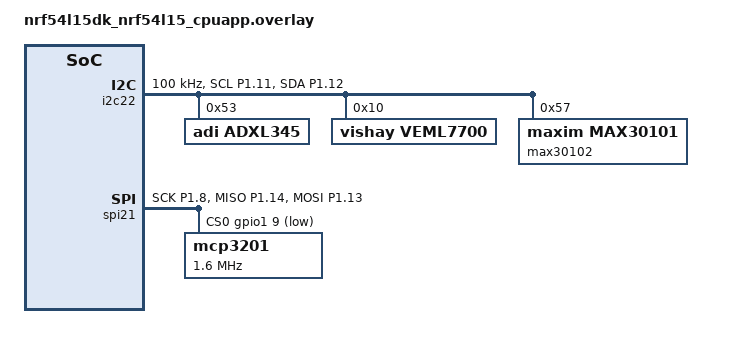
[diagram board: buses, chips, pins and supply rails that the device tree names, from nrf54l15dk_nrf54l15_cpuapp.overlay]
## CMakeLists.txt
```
cmake_minimum_required(VERSION 3.20.0)
find_package(Zephyr REQUIRED HINTS $ENV{ZEPHYR_BASE})

project(sensor_hub)

target_sources(app PRIVATE src/main.c)
```

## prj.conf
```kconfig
# Project Configurations
CONFIG_SENSOR=y
CONFIG_I2C=y    # configure I2C communication
CONFIG_SPI=y    # configure SPI communication
CONFIG_GPIO=y
CONFIG_SERIAL=y
CONFIG_CBPRINTF_FP_SUPPORT=y

CONFIG_ADXL345=y    # configure accelerometer
CONFIG_VEML7700=y   # config ambient light sensor

CONFIG_LOG=y

# for bluetooth
CONFIG_BT=y
CONFIG_BT_PERIPHERAL=y
CONFIG_BT_DEVICE_NAME="Nordic_UART_Service"
CONFIG_BT_MAX_CONN=1
CONFIG_BT_MAX_PAIRED=1
# Enable the NUS service
CONFIG_BT_NUS=y
# Enable bonding
CONFIG_BT_SETTINGS=y
CONFIG_FLASH=y
CONFIG_FLASH_PAGE_LAYOUT=y
CONFIG_FLASH_MAP=y

# # For PMIC (Uncomment for custom PCB)
# CONFIG_MFD=y
# CONFIG_MFD_NPM13XX=y
# CONFIG_REGULATOR=y
# CONFIG_REGULATOR_NPM13XX=y
# CONFIG_LED=y
# CONFIG_LED_NPM13XX=y
```

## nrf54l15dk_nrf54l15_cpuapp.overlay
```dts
// Device Tree Overlay File
// Defines all of the hardware nodes and configurations

&i2c22 {
    status = "okay";
    pinctrl-0 = <&i2c22_default>;
	pinctrl-1 = <&i2c22_sleep>;
    pinctrl-names = "default", "sleep";
	clock-frequency = <I2C_BITRATE_STANDARD>; 
    adxl345: adxl345@53{
        compatible = "adi,adxl345";
        status = "okay";
        reg = < 0x53 >;
    };
    veml7700: veml7700@10{
        compatible = "vishay,veml7700";
        status = "okay";
        reg = < 0x10 >;
    };
	max30102: max30102@57{
		compatible = "maxim,max30101";
		status = "okay";
		reg = <0x57>;
	};
// 	// PMIC
// 	npm1304: npm1304@6b{
// 		compatible="nordic,npm1304";
// 		reg=<0x6b>;
// 		status="disabled"; // will have to set to "okay" later

// 		/* Interrupt for Fuel Gauge / Buttons */
//      host-int-gpios = <&gpio1 2 GPIO_ACTIVE_HIGH>;

// 		regulators {
// 			compatible="nordic,npm1304-regulator";

// 			/* BUCK1: 1.8V */
//             BUCK1 {
//                 regulator-min-microvolt = <1800000>;
//                 regulator-max-microvolt = <1800000>;
//                 regulator-always-on;
//             };

//             /* BUCK2: 3.3V (System Boot) */
//             BUCK2 {
//                 regulator-min-microvolt = <3300000>;
//                 regulator-max-microvolt = <3300000>;
//                 regulator-boot-on; 
//                 regulator-always-on;
//             };

//             /* LDO2: 3.3V (Analog) */
//             LDO2 {
//                 regulator-min-microvolt = <3300000>;
//                 regulator-max-microvolt = <3300000>;
//                 regulator-always-on;
//             };
//         };

//         npm1304_charger: charger {
//             compatible = "nordic,npm1304-charger";
//             term-microvolt = <4200000>;
//             current-microamp = <100000>;
		
//             dischg-limit-microamp = <125000>; /* 1A Discharge Limit */
//             vbus-limit-microamp = <500000>;    /* 500mA USB Input Limit */
//             thermistor-ohms = <10000>;         /* 10k NTC Thermistor */
//             thermistor-beta = <3380>;          /* Standard Beta Value */
//         };

//         npm1304_leds: leds {
//             compatible = "nordic,npm1304-led";
// 			nordic,led0-mode = "charging";
// 			nordic,led1-mode = "host";
// 			nordic,led2-mode = "host";
//         };
// 	};	
};

&spi21 {
	status = "okay";
	pinctrl-0 = <&spi21_default>;
	pinctrl-1 = <&spi21_sleep>;
	pinctrl-names = "default", "sleep";
	
	/* Chip Select: P1.09 (Active Low) */
	cs-gpios = <&gpio1 9 GPIO_ACTIVE_LOW>;

	/* ADC Device (MCP3201 for Dev Board) */
	mcp3201: mcp3201@0 {
		compatible = "mcp3201";
		reg = <0>; 
		spi-max-frequency = <1600000>; 
		label = "MCP3201";
	};
};

&pinctrl {
	/omit-if-no-ref/ i2c22_default: i2c22_default {
		group1  {
			psels = <NRF_PSEL(TWIM_SCL, 1, 11)>,
					<NRF_PSEL(TWIM_SDA, 1, 12)>;
			// bias-disable; // <-- include for custom board
		};
	};

	/omit-if-no-ref/ i2c22_sleep: i2c22_sleep {
		group1  {
			psels = <NRF_PSEL(TWIM_SCL, 1, 11)>,
					<NRF_PSEL(TWIM_SDA, 1, 12)>;
			low-power-enable;
			// bias-disable; // <-- include for custom board
		};
	};

    /omit-if-no-ref/ spi21_default: spi21_default {
		group1 {
			/* SCK = P1.08, MISO = P1.14, MOSI = P1.13 */
			psels = <NRF_PSEL(SPIM_SCK, 1, 8)>,
				<NRF_PSEL(SPIM_MISO, 1, 14)>,
				<NRF_PSEL(SPIM_MOSI, 1, 13)>; 
		};
	};

	/omit-if-no-ref/ spi21_sleep: spi21_sleep {
		group1 {
			psels = <NRF_PSEL(SPIM_SCK, 1, 8)>,
				<NRF_PSEL(SPIM_MISO, 1, 14)>,
				<NRF_PSEL(SPIM_MOSI, 1, 13)>;
			low-power-enable;
		};
	};
};
```

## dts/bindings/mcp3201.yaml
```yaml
# This file tells Zephyr that "mcp3201" is a valid SPI slave
description: Generic SPI Device for raw access

compatible: "mcp3201"

# Inherit all standard SPI properties (frequency, duplex, etc.)
include: spi-device.yaml

properties:
    label:
      type: string
      description: Human readable name
```

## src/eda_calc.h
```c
#ifndef EDA_CALC_H
#define EDA_CALC_H

#include <zephyr/kernel.h>
#include <math.h>

/* --- TUNING PARAMETERS --- */
/* Filter Alpha: Determines how fast the baseline updates.
 * 0.99 = Slow baseline (good for spotting spikes).
 * 0.50 = Fast baseline (adapts quickly, might hide spikes).
 */
#define EDA_FILTER_ALPHA    0.995f

/* Stress Threshold: How many ADC counts above baseline constitutes "Stress"?
 * Start with 50. Decrease to 20 if wrist signal is weak.
 */
#define EDA_THRESHOLD       30.0f

/* Cooldown: Time (ms) to wait before triggering another event */
#define EDA_COOLDOWN_MS     2000

typedef struct {
    float baseline;         /* Tonic Level (Average) */
    float phasic;           /* Phasic Level (Current - Average) */
    bool  stress_detected;
    int64_t last_event_time;
    bool  is_calibrated;    /* Ignore first few seconds */
    int   startup_samples;
} eda_context_t;

static inline void eda_init(eda_context_t *ctx) {
    ctx->baseline = 0;
    ctx->phasic = 0;
    ctx->stress_detected = false;
    ctx->last_event_time = 0;
    ctx->is_calibrated = false;
    ctx->startup_samples = 0;
}

static inline void eda_process(eda_context_t *ctx, uint16_t raw_val) {
    ctx->stress_detected = false;
    int64_t now = k_uptime_get();

    /* 1. Initialization Phase (First 2 seconds @ 25Hz = 50 samples) */
    if (!ctx->is_calibrated) {
        /* Just set baseline to current value to avoid initial spike */
        if (ctx->baseline == 0) ctx->baseline = (float)raw_val;
        
        /* Fast converge filter during startup */
        ctx->baseline = 0.90f * ctx->baseline + 0.10f * (float)raw_val;
        
        ctx->startup_samples++;
        if (ctx->startup_samples > 50) ctx->is_calibrated = true;
        return;
    }

    /* 2. Update Baseline (Slow Moving Average) */
    /* Logic: NewBaseline = (Old * 0.995) + (Current * 0.005) */
    ctx->baseline = (EDA_FILTER_ALPHA * ctx->baseline) + 
                    ((1.0f - EDA_FILTER_ALPHA) * (float)raw_val);

    /* 3. Calculate Phasic Component (The Spike) */
    /* Since Stress = Higher Value, Phasic = Raw - Baseline */
    ctx->phasic = (float)raw_val - ctx->baseline;

    /* 4. Detect Stress Event */
    if (ctx->phasic > EDA_THRESHOLD && 
       (now - ctx->last_event_time) > EDA_COOLDOWN_MS) {
        
        ctx->stress_detected = true;
        ctx->last_event_time = now;
    }
}

#endif
```

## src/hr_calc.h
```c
#ifndef HR_CALC_H
#define HR_CALC_H

#include <zephyr/kernel.h>
#include <math.h>

/* --- TUNING PARAMETERS --- */
#define MIN_BEAT_MS        300  /* 200 BPM max */
#define MA_SIZE            4    /* Signal smoothing window */
#define BPM_BUFFER_SIZE    5    /* Output BPM averaging window */
#define MAX_BPM_JUMP       30   /* Reject beats that jump more than this from average */

/* HRV Stress Parameters */
#define HRV_ALPHA          0.99f /* Slow baseline update (approx 100 beats to shift baseline) */
#define STRESS_DROP_RATIO  0.70f /* Stress = Current HRV is < 70% of Baseline */
#define MIN_RMSSD_VALID    5.0f  /* Ignore noise below 5ms */

typedef struct {
    float dc_filter_ir;
    float peak_threshold;
    int64_t last_beat_time;
    
    /* HRV Buffers */
    int32_t rr_buffer[10];
    uint8_t rr_index;
    
    /* BPM Smoothing */
    int32_t bpm_buffer[BPM_BUFFER_SIZE];
    uint8_t bpm_idx;
    int32_t current_bpm; /* The smoothed output */

    /* Stress Metrics (using HRV) */
    float   current_rmssd;
    float   baseline_rmssd; /* Long-term average HRV */
    bool    stress_from_hrv; /* TRUE if HRV drops significantly */
    
    bool    beat_detected;
    
    /* Signal Processing Buffer */
    uint32_t ma_buf[MA_SIZE];
    uint8_t ma_idx;
} hr_context_t;

static inline void hr_init(hr_context_t *ctx) {
    // for bpm monitoring
    ctx->dc_filter_ir = 0;
    ctx->peak_threshold = 200.0f;
    ctx->last_beat_time = 0;
    ctx->current_bpm = 0;
    ctx->bpm_idx = 0;
    ctx->ma_idx = 0;

    // for hrv monitoring
    ctx->current_rmssd = 0;
    ctx->baseline_rmssd = -1.0f; /* Flag to indicate uninitialized */
    ctx->stress_from_hrv = false;
    
    for(int i=0; i<MA_SIZE; i++) ctx->ma_buf[i] = 0;
    /* Pre-fill BPM buffer with a safe default (e.g., 70) to prevent startup jitters */
    for(int i=0; i<BPM_BUFFER_SIZE; i++) ctx->bpm_buffer[i] = 70;
}

static inline void hr_process(hr_context_t *ctx, uint32_t ir_raw) {
    ctx->beat_detected = false;
    ctx->stress_from_hrv = false; /* Reset status every sample (pulse) */
    
    /* 1. Signal Smoothing (Moving Average) */
    ctx->ma_buf[ctx->ma_idx] = ir_raw;
    ctx->ma_idx = (ctx->ma_idx + 1) % MA_SIZE;
    uint32_t smooth_ir = 0;
    for(int i=0; i<MA_SIZE; i++) smooth_ir += ctx->ma_buf[i];
    smooth_ir /= MA_SIZE;

    /* 2. DC Removal */
    if (ctx->dc_filter_ir == 0) ctx->dc_filter_ir = smooth_ir;
    ctx->dc_filter_ir = 0.95f * ctx->dc_filter_ir + 0.05f * smooth_ir;
    float ac_signal = ctx->dc_filter_ir - smooth_ir;

    /* 3. Beat Logic */
    ctx->peak_threshold *= 0.999f;
    if (ctx->peak_threshold < 50.0f) ctx->peak_threshold = 50.0f;

    int64_t now = k_uptime_get();
    
    if (ac_signal > ctx->peak_threshold && (now - ctx->last_beat_time) > MIN_BEAT_MS) {
        
        int32_t rr_interval = (int32_t)(now - ctx->last_beat_time);
        int32_t instant_bpm = 60000 / rr_interval;
        
        ctx->last_beat_time = now;
        
        /* Update Threshold */
        ctx->peak_threshold = ac_signal * 0.5f;
        if (ctx->peak_threshold < 100.0f) ctx->peak_threshold = 100.0f;

        /* --- 4. BPM FILTERING --- */
        /* only accept realistic HR values */
        if (instant_bpm > 40 && instant_bpm < 200) {
            
            /* Outlier Rejection (Sudden Jumps) */
            bool accept_beat = true;
            if (ctx->current_bpm > 0) {
                int diff = abs(instant_bpm - ctx->current_bpm);
                if (diff > MAX_BPM_JUMP) {
                    /* If it jumps > 30 BPM instantly, ignore it (likely noise or missed beat) */
                    accept_beat = false;
                }
            }

            if (accept_beat) {
                /* Add to smoothing buffer */
                ctx->bpm_buffer[ctx->bpm_idx] = instant_bpm;
                ctx->bpm_idx = (ctx->bpm_idx + 1) % BPM_BUFFER_SIZE;

                /* Calculate Average */
                int32_t sum = 0;
                for(int i=0; i<BPM_BUFFER_SIZE; i++) sum += ctx->bpm_buffer[i];
                ctx->current_bpm = sum / BPM_BUFFER_SIZE;
                
                ctx->beat_detected = true;

                /* HRV Logic (Only update HRV on valid beats) */
                ctx->rr_buffer[ctx->rr_index++ % 10] = rr_interval;
                float sum_sq_diff = 0;
                int count = 0;
                for (int i = 0; i < 9; i++) {
                    if (ctx->rr_buffer[i] > 0 && ctx->rr_buffer[i+1] > 0) {
                        int32_t diff = ctx->rr_buffer[i+1] - ctx->rr_buffer[i];
                        sum_sq_diff += (float)(diff * diff);
                        count++;
                    }
                }
                if (count > 0){
                    ctx->current_rmssd = sqrtf(sum_sq_diff / count);
                    // init HRV baseline
                    if (ctx->baseline_rmssd < 0) {
                        ctx->baseline_rmssd = ctx->current_rmssd;
                    } else {    // update baseline overtime
                        ctx->baseline_rmssd = (HRV_ALPHA * ctx->baseline_rmssd) + 
                                    ((1.0f - HRV_ALPHA) * ctx->current_rmssd);
                    }
                    // CHECK FOR STRESS EVENT -> i.e. drop in HRV
                    if (ctx->current_rmssd > MIN_RMSSD_VALID && 
                        ctx->current_rmssd < (ctx->baseline_rmssd * STRESS_DROP_RATIO)) {
                        ctx->stress_from_hrv = true;
                    }
                } 
            }
        }
    }
}

#endif
```

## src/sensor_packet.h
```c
#ifndef SENSOR_PACKET_H
#define SENSOR_PACKET_H

#include <stdint.h>

/* --- BLE DATA STRUCTURE --- */
/* Packed struct to ensure consistent byte alignment for transmission over BLE.
 * Total Size: 18 Bytes
 */
typedef struct __attribute__((packed)) {
    uint32_t timestamp;    /* 4 Bytes: Time in ms */
    uint16_t hrv;          /* 2 Bytes: RMSSD in ms */
    uint16_t eda_raw;      /* 2 Bytes: Raw ADC Value */
    uint8_t  heart_rate;   /* 1 Byte:  BPM */
    int16_t  temperature;  /* 2 Bytes: Temp in C * 100 (e.g., 3650 = 36.50C) */
    int16_t  accel_x;     /* 2 Bytes: Delta X (m/s^2 * 100) */
    int16_t  accel_y;     /* 2 Bytes: Delta Y (m/s^2 * 100) */
    int16_t  accel_z;     /* 2 Bytes: Delta Z (m/s^2 * 100) */
    uint8_t  status_flags; /* 1 Byte:  Bitmask for status booleans */
} sensor_packet_t;

/* Status Flag Bit Definitions */
#define STATUS_BIT_MOTION      (1 << 0)
#define STATUS_BIT_INDOOR      (1 << 1)
#define STATUS_BIT_STRESS_EDA  (1 << 2)
#define STATUS_BIT_STRESS_HRV  (1 << 3)

#endif /* SENSOR_PACKET_H */
```
